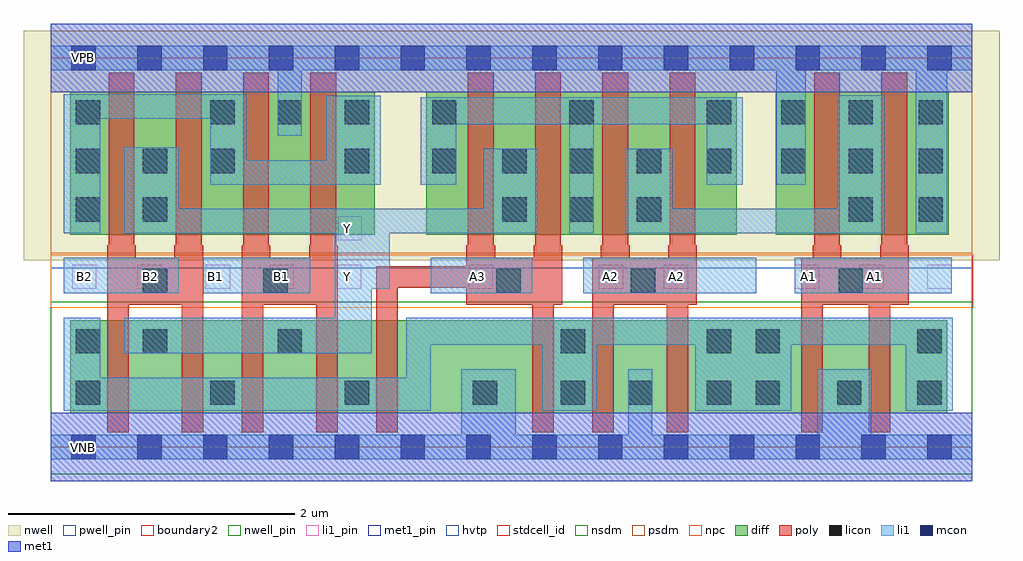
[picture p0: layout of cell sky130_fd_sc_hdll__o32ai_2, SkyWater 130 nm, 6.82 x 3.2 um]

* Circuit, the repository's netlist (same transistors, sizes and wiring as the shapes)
* Copyright 2020 The SkyWater PDK Authors
*
* Licensed under the Apache License, Version 2.0 (the "License");
* you may not use this file except in compliance with the License.
* You may obtain a copy of the License at
*
*     https://www.apache.org/licenses/LICENSE-2.0
*
* Unless required by applicable law or agreed to in writing, software
* distributed under the License is distributed on an "AS IS" BASIS,
* WITHOUT WARRANTIES OR CONDITIONS OF ANY KIND, either express or implied.
* See the License for the specific language governing permissions and
* limitations under the License.
*
* SPDX-License-Identifier: Apache-2.0

.SUBCKT sky130_fd_sc_hdll__o32ai_2 A1 A2 A3 B1 B2 VGND VNB VPB VPWR Y
*.PININFO A1:I A2:I A3:I B1:I B2:I VGND:I VNB:I VPB:I VPWR:I Y:O
MMPA0 VPWR A1 sndA1 VPB sky130_fd_pr__pfet_01v8_hvt m=2 w=1.0U l=0.18U mult=1 sa=0.265
+ sb=0.265 sd=0.28 area=0.063 perim=1.14
MMPA1 sndA1 A2 sndA2 VPB sky130_fd_pr__pfet_01v8_hvt m=2 w=1.0U l=0.18U mult=1
+ sa=0.265 sb=0.265 sd=0.28 area=0.063 perim=1.14
MMPA2 sndA2 A3 Y VPB sky130_fd_pr__pfet_01v8_hvt m=2 w=1.0U l=0.18U mult=1 sa=0.265
+ sb=0.265 sd=0.28 area=0.063 perim=1.14
MMPB0 VPWR B1 sndB1 VPB sky130_fd_pr__pfet_01v8_hvt m=2 w=1.0U l=0.18U mult=1 sa=0.265
+ sb=0.265 sd=0.28 area=0.063 perim=1.14
MMPB1 sndB1 B2 Y VPB sky130_fd_pr__pfet_01v8_hvt m=2 w=1.0U l=0.18U mult=1 sa=0.265
+ sb=0.265 sd=0.28 area=0.063 perim=1.14
MMNA0 pndA A1 VGND VNB sky130_fd_pr__nfet_01v8 m=2 w=0.65U l=0.15U mult=1 sa=0.265
+ sb=0.265 sd=0.28 area=0.063 perim=1.14
MMNA1 pndA A2 VGND VNB sky130_fd_pr__nfet_01v8 m=2 w=0.65U l=0.15U mult=1 sa=0.265
+ sb=0.265 sd=0.28 area=0.063 perim=1.14
MMNA2 pndA A3 VGND VNB sky130_fd_pr__nfet_01v8 m=2 w=0.65U l=0.15U mult=1 sa=0.265
+ sb=0.265 sd=0.28 area=0.063 perim=1.14
MMNB0 Y B1 pndA VNB sky130_fd_pr__nfet_01v8 m=2 w=0.65U l=0.15U mult=1 sa=0.265
+ sb=0.265 sd=0.28 area=0.063 perim=1.14
MMNB1 Y B2 pndA VNB sky130_fd_pr__nfet_01v8 m=2 w=0.65U l=0.15U mult=1 sa=0.265
+ sb=0.265 sd=0.28 area=0.063 perim=1.14
.ENDS sky130_fd_sc_hdll__o32ai_2

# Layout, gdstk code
import gdstk
lib = gdstk.Library(unit=1e-6, precision=1e-09)
def R(c, l, rs):  # rectangles x0, y0, x1, y1
    for r in rs: c.add(gdstk.rectangle(r[:2], r[2:], *l))
def A(c, l, x, y, w, h, nx, ny, dx, dy):  # array of equal rectangles
    R(c, l, [(x+i*dx, y+j*dy, x+i*dx+w, y+j*dy+h) for i in range(nx) for j in range(ny)])
def P(c, l, *ps):  # polygons
    for p in ps: c.add(gdstk.Polygon(p, *l))
nwell_pin = (64, 16)
nwell = (64, 20)
diff = (65, 20)
poly = (66, 20)
licon = (66, 44)
li1_pin = (67, 16)
li1 = (67, 20)
mcon = (67, 44)
met1_pin = (68, 16)
met1 = (68, 20)
hvtp = (78, 44)
stdcell_id = (81, 4)
nsdm = (93, 44)
psdm = (94, 20)
npc = (95, 20)
pwell_pin = (122, 16)
boundary2 = (236, 0)

sky130_fd_sc_hdll__o32ai = lib.new_cell('sky130_fd_sc_hdll__o32ai_2')
R(sky130_fd_sc_hdll__o32ai, nwell_pin, [(0.145,2.635,0.315,2.805)])
R(sky130_fd_sc_hdll__o32ai, nwell, [(-0.19,1.305,6.63,2.91)])
R(sky130_fd_sc_hdll__o32ai, diff, [(0.135,0.235,6.265,0.885), (0.135,1.485,2.265,2.485), (2.625,1.485,4.795,2.485), (5.065,1.485,6.275,2.485)])
P(sky130_fd_sc_hdll__o32ai, poly, [(1.065,1.41),(1.055,1.41),(1.055,2.615),(0.875,2.615),(0.875,1.41),(0.865,1.41),(0.865,1.325),(0.595,1.325),(0.595,1.41),(0.585,1.41),(0.585,2.615),(0.405,2.615),(0.405,1.41),(0.395,1.41),(0.395,0.105),(0.545,0.105),(0.545,0.995),(0.915,0.995),(0.915,0.105),(1.065,0.105)],
  [(2.005,1.41),(1.995,1.41),(1.995,2.615),(1.815,2.615),(1.815,1.41),(1.805,1.41),(1.805,1.325),(1.535,1.325),(1.535,1.41),(1.525,1.41),(1.525,2.615),(1.345,2.615),(1.345,1.41),(1.335,1.41),(1.335,0.105),(1.485,0.105),(1.485,0.995),(1.855,0.995),(1.855,0.105),(2.005,0.105)],
  [(3.575,1.41),(3.565,1.41),(3.565,2.615),(3.385,2.615),(3.385,1.41),(3.375,1.41),(3.375,1.325),(3.105,1.325),(3.105,1.41),(3.095,1.41),(3.095,2.615),(2.915,2.615),(2.915,1.41),(2.905,1.41),(2.905,1.265),(2.275,1.265),(2.275,0.105),(2.425,0.105),(2.425,1.115),(2.905,1.115),(2.905,0.995),(3.365,0.995),(3.365,0.105),(3.515,0.105),(3.515,0.995),(3.575,0.995)],
  [(4.515,1.41),(4.505,1.41),(4.505,2.615),(4.325,2.615),(4.325,1.41),(4.315,1.41),(4.315,1.325),(4.045,1.325),(4.045,1.41),(4.035,1.41),(4.035,2.615),(3.855,2.615),(3.855,1.41),(3.845,1.41),(3.845,1.325),(3.785,1.325),(3.785,0.105),(3.935,0.105),(3.935,0.995),(4.305,0.995),(4.305,0.105),(4.455,0.105),(4.455,0.995),(4.515,0.995)],
  [(5.995,1.41),(5.985,1.41),(5.985,2.615),(5.805,2.615),(5.805,1.41),(5.795,1.41),(5.795,1.325),(5.525,1.325),(5.525,1.41),(5.515,1.41),(5.515,2.615),(5.335,2.615),(5.335,1.41),(5.325,1.41),(5.325,1.325),(5.245,1.325),(5.245,0.105),(5.395,0.105),(5.395,0.995),(5.715,0.995),(5.715,0.105),(5.865,0.105),(5.865,0.995),(5.995,0.995)])
A(sky130_fd_sc_hdll__o32ai, licon, 0.175, 0.295, 0.17, 0.17, 3, 1, 0.94, 0)
A(sky130_fd_sc_hdll__o32ai, licon, 3.155, 1.575, 0.17, 0.17, 3, 2, 0.47, 0.34)
A(sky130_fd_sc_hdll__o32ai, licon, 5.575, 1.575, 0.17, 0.17, 1, 3, 0, 0.34)
A(sky130_fd_sc_hdll__o32ai, licon, 6.065, 1.575, 0.17, 0.17, 1, 3, 0, 0.34)
A(sky130_fd_sc_hdll__o32ai, licon, 0.175, 1.915, 0.17, 0.17, 3, 1, 0.47, 0)
A(sky130_fd_sc_hdll__o32ai, licon, 1.115, 2.255, 0.17, 0.17, 3, 1, 0.47, 0)
A(sky130_fd_sc_hdll__o32ai, licon, 2.665, 2.255, 0.17, 0.17, 3, 1, 0.96, 0)
R(sky130_fd_sc_hdll__o32ai, licon, [(2.95,0.295,3.12,0.465), (3.565,0.295,3.735,0.465), (4.035,0.295,4.205,0.465), (4.585,0.295,4.755,0.465), (4.925,0.295,5.095,0.465), (5.495,0.295,5.665,0.465), (6.055,0.295,6.225,0.465), (0.175,0.655,0.345,0.825), (0.645,0.655,0.815,0.825), (1.585,0.655,1.755,0.825), (3.565,0.655,3.735,0.825), (4.585,0.655,4.755,0.825), (4.925,0.655,5.095,0.825), (6.055,0.655,6.225,0.825), (0.645,1.075,0.815,1.245), (1.485,1.075,1.655,1.245), (3.115,1.075,3.285,1.245), (4.055,1.075,4.225,1.245), (5.505,1.075,5.675,1.245), (0.175,1.575,0.345,1.745), (0.645,1.575,0.815,1.745), (2.055,1.915,2.225,2.085), (2.665,1.915,2.835,2.085), (4.585,1.915,4.755,2.085), (5.105,1.915,5.275,2.085), (0.175,2.255,0.345,2.425), (5.105,2.255,5.275,2.425)])
R(sky130_fd_sc_hdll__o32ai, li1_pin, [(0.15,1.105,0.32,1.275), (0.605,1.105,0.775,1.275), (1.085,1.105,1.255,1.275), (1.53,1.105,1.7,1.275), (2,1.105,2.17,1.275), (2.92,1.105,3.09,1.275), (3.83,1.105,4,1.275), (4.285,1.105,4.455,1.275), (5.2,1.105,5.37,1.275), (5.65,1.105,5.82,1.275), (6.125,1.105,6.295,1.275), (2.005,1.445,2.175,1.615)])
R(sky130_fd_sc_hdll__o32ai, li1, [(0.09,1.075,0.895,1.325), (1.065,1.075,1.815,1.325), (2.655,1.075,3.365,1.325), (3.72,1.075,4.93,1.325), (5.2,1.075,6.295,1.325)])
P(sky130_fd_sc_hdll__o32ai, li1, [(2.305,2.455),(1.925,2.455),(1.925,2.005),(1.365,2.005),(1.365,2.465),(0.09,2.465),(0.09,1.495),(0.345,1.495),(0.345,2.295),(1.115,2.295),(1.115,1.835),(2.305,1.835)],
  [(3.405,2.085),(3.025,2.085),(3.025,1.665),(0.895,1.665),(0.895,2.095),(0.515,2.095),(0.515,1.495),(1.985,1.495),(1.985,0.905),(0.515,0.905),(0.515,0.655),(2.245,0.655),(2.245,1.105),(2.37,1.105),(2.37,1.495),(3.405,1.495)],
  [(4.835,2.445),(2.585,2.445),(2.585,1.835),(2.835,1.835),(2.835,2.255),(3.625,2.255),(3.625,1.495),(3.795,1.495),(3.795,2.255),(4.585,2.255),(4.585,1.835),(4.835,1.835)],
  [(6.44,0.085),(5.735,0.085),(5.735,0.545),(5.355,0.545),(5.355,0.085),(4.205,0.085),(4.205,0.545),(4.035,0.545),(4.035,0.085),(3.25,0.085),(3.25,0.545),(2.87,0.545),(2.87,0.085),(0,0.085),(0,-0.085),(6.44,-0.085)],
  [(5.825,2.46),(5.495,2.46),(5.495,1.665),(4.345,1.665),(4.345,2.085),(4.015,2.085),(4.015,1.495),(5.825,1.495)],
  [(6.305,0.905),(2.485,0.905),(2.485,0.485),(0.345,0.485),(0.345,0.905),(0.09,0.905),(0.09,0.255),(2.655,0.255),(2.655,0.715),(3.435,0.715),(3.435,0.255),(3.815,0.255),(3.815,0.715),(4.505,0.715),(4.505,0.255),(5.175,0.255),(5.175,0.715),(5.975,0.715),(5.975,0.255),(6.305,0.255)],
  [(6.44,2.805),(0,2.805),(0,2.635),(1.585,2.635),(1.585,2.175),(1.755,2.175),(1.755,2.635),(5.07,2.635),(5.07,1.835),(5.275,1.835),(5.275,2.635),(6.045,2.635),(6.045,1.495),(6.265,1.495),(6.265,2.635),(6.44,2.635)])
A(sky130_fd_sc_hdll__o32ai, mcon, 0.145, -0.085, 0.17, 0.17, 14, 2, 0.46, 2.72)
R(sky130_fd_sc_hdll__o32ai, met1_pin, [(0.145,-0.085,0.315,0.085), (0.145,2.635,0.315,2.805)])
R(sky130_fd_sc_hdll__o32ai, met1, [(0,-0.24,6.44,0.24), (0,2.48,6.44,2.96)])
R(sky130_fd_sc_hdll__o32ai, hvtp, [(0,1.25,6.44,2.72)])
R(sky130_fd_sc_hdll__o32ai, stdcell_id, [(0,0,6.44,2.72)])
R(sky130_fd_sc_hdll__o32ai, nsdm, [(0,-0.19,6.44,1.015)])
R(sky130_fd_sc_hdll__o32ai, psdm, [(0,1.355,6.44,2.91)])
R(sky130_fd_sc_hdll__o32ai, npc, [(0,0.975,6.445,1.345)])
R(sky130_fd_sc_hdll__o32ai, pwell_pin, [(0.145,-0.085,0.315,0.085)])
R(sky130_fd_sc_hdll__o32ai, boundary2, [(0,0,6.44,2.72)])
sky130_fd_sc_hdll__o32ai.add(gdstk.Label('A1', (5.755,1.19), layer=67, texttype=5))
sky130_fd_sc_hdll__o32ai.add(gdstk.Label('B1', (1.155,1.19), layer=67, texttype=5))
sky130_fd_sc_hdll__o32ai.add(gdstk.Label('A2', (4.375,1.19), layer=67, texttype=5))
sky130_fd_sc_hdll__o32ai.add(gdstk.Label('A1', (5.295,1.19), layer=67, texttype=5))
sky130_fd_sc_hdll__o32ai.add(gdstk.Label('A2', (3.915,1.19), layer=67, texttype=5))
sky130_fd_sc_hdll__o32ai.add(gdstk.Label('A3', (2.985,1.19), layer=67, texttype=5))
sky130_fd_sc_hdll__o32ai.add(gdstk.Label('Y', (2.075,1.19), layer=67, texttype=5))
sky130_fd_sc_hdll__o32ai.add(gdstk.Label('Y', (2.075,1.53), layer=67, texttype=5))
sky130_fd_sc_hdll__o32ai.add(gdstk.Label('B1', (1.615,1.19), layer=67, texttype=5))
sky130_fd_sc_hdll__o32ai.add(gdstk.Label('B2', (0.695,1.19), layer=67, texttype=5))
sky130_fd_sc_hdll__o32ai.add(gdstk.Label('B2', (0.235,1.19), layer=67, texttype=5))
sky130_fd_sc_hdll__o32ai.add(gdstk.Label('VPB', (0.23,2.72), layer=64, texttype=5))
sky130_fd_sc_hdll__o32ai.add(gdstk.Label('VNB', (0.23,0), layer=64, texttype=59))
sky130_fd_sc_hdll__o32ai.add(gdstk.Label('VGND', (0.23,0), layer=68, texttype=5))
sky130_fd_sc_hdll__o32ai.add(gdstk.Label('VPWR', (0.23,2.72), layer=68, texttype=5))
sky130_fd_sc_hdll__o32ai.add(gdstk.Label('o32ai_2', (0,0), layer=83, texttype=44))

lib.write_gds('sky130_fd_sc_hdll__o32ai_2.gds')
